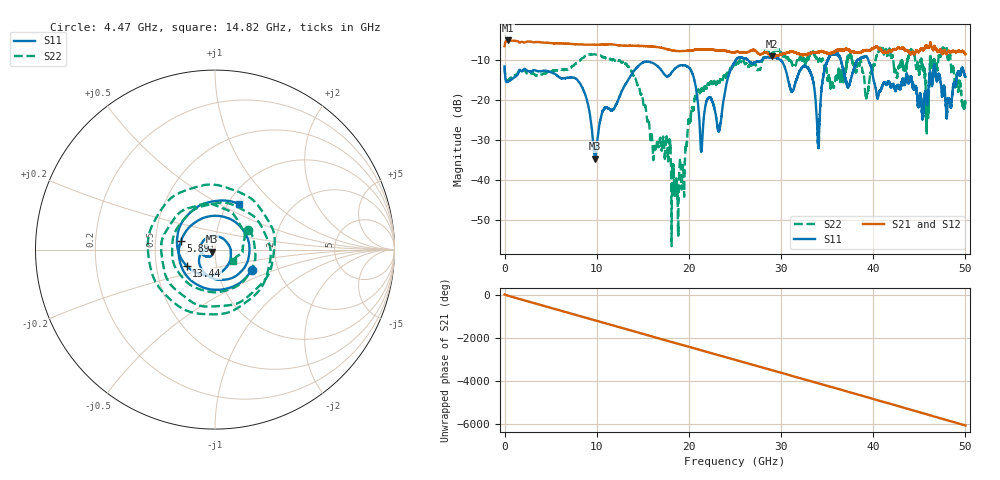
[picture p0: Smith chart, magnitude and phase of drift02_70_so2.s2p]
!Created with skrf (http://scikit-rf.org).
# Hz S RI R 50.0
!freq ReS11 ImS11 ReS21 ImS21 ReS12 ImS12 ReS22 ImS22
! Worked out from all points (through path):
!   10001 points, 300 kHz to 50 GHz, reference 50 ohm
!   highest |S21| = -5.04 dB at 325.3 MHz (marker M1); lowest = -9.0 dB at 28.98 GHz (marker M2)
!   group delay of S21, straight-line fit = 336 ps
!   lowest |S11| = -34.6 dB at 9.84 GHz (marker M3), VSWR 1.04, Z = 48.5 - j1.05 ohm
!   |S11| at or under -10 dB: start of sweep to 25.07 GHz; 29.98 GHz to 35.05 GHz (5.072 GHz wide, 15.6 % of centre); 39.48 GHz to end of sweep (the widest 3 of 8)
!   |S22| runs from -56.5 to -6.8 dB; largest |S21 - S12| = 0.022
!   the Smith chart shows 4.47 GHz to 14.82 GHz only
!   S11 on the Smith chart (normalised r, x): 4.47 GHz: 1.46, -0.35; 5.89 GHz: 0.68, +0.07; 13.44 GHz: 0.72, -0.13; 14.82 GHz: 1.13, +0.62
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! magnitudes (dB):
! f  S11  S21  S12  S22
! 300 kHz  -11.5  -6.5  -6.4  -11.5
! 325.3 MHz  -15.4  -5.0  -5.0  -15.0
! 4.47 GHz  -12.6  -5.6  -5.6  -13.3
! 5.89 GHz  -14.2  -5.7  -5.7  -12.5
! 8.335 GHz  -16.4  -6.0  -6.0  -9.6
! 9.84 GHz  -34.6  -6.1  -6.1  -8.5
! 13.44 GHz  -14.8  -6.4  -6.4  -11.6
! 14.82 GHz  -10.8  -6.4  -6.4  -18.5
! 16.67 GHz  -11.6  -6.7  -6.7  -31.2
! 18.67 GHz  -11.8  -7.7  -7.7  -40.8
! 20.37 GHz  -13.3  -7.5  -7.5  -21.9
! 21.37 GHz  -32.0  -7.2  -7.2  -17.0
! 23.31 GHz  -27.3  -7.6  -7.6  -15.6
! 25 GHz  -10.3  -7.9  -7.9  -11.2
! 28.98 GHz  -9.2  -9.0  -9.0  -8.3
! 33.34 GHz  -13.9  -8.1  -8.1  -8.0
! 34.02 GHz  -31.7  -7.9  -7.9  -10.3
! 35.51 GHz  -8.3  -8.2  -8.2  -15.5
! 41.67 GHz  -15.4  -7.7  -7.8  -7.5
! 45.85 GHz  -20.8  -6.7  -6.7  -21.4
! 47.77 GHz  -17.7  -7.6  -7.6  -7.5
! 50 GHz  -14.1  -8.5  -8.4  -20.2
